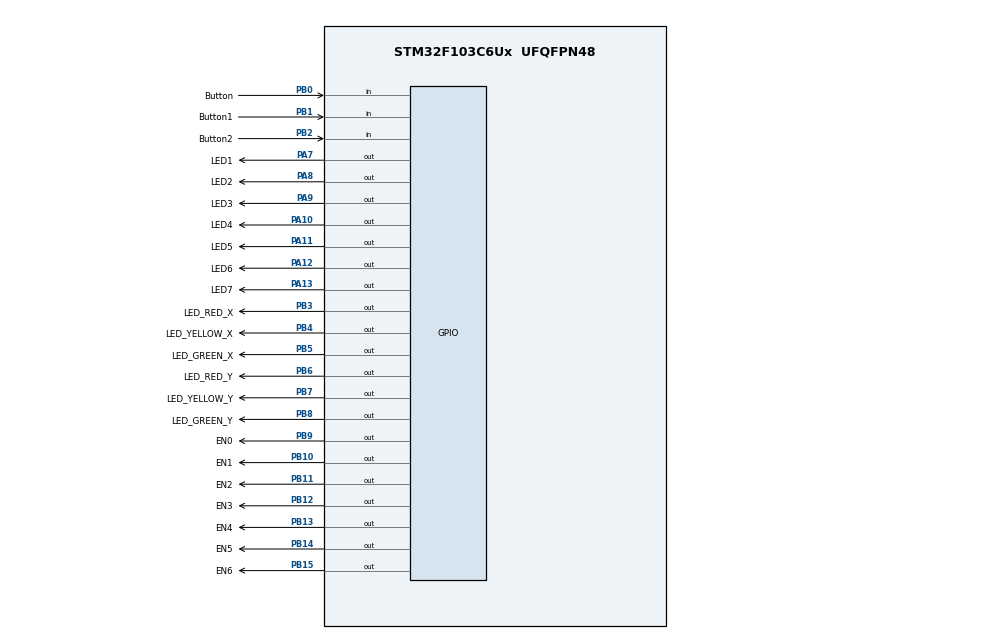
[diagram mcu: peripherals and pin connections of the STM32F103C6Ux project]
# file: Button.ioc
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Mcu.Family=STM32F1
Mcu.Name=STM32F103C6Ux
Mcu.Package=UFQFPN48
NVIC.PriorityGroup=NVIC_PRIORITYGROUP_4
NVIC.TIM2_IRQn=true\:0\:0\:false\:false\:true\:true\:true
PA10.GPIO_Label=LED4
PA10.Signal=GPIO_Output
PA11.GPIO_Label=LED5
PA11.Signal=GPIO_Output
PA12.GPIO_Label=LED6
PA12.Signal=GPIO_Output
PA13.GPIO_Label=LED7
PA13.Signal=GPIO_Output
PA7.GPIO_Label=LED1
PA7.Signal=GPIO_Output
PA8.GPIO_Label=LED2
PA8.Signal=GPIO_Output
PA9.GPIO_Label=LED3
PA9.Signal=GPIO_Output
PB0.GPIO_Label=Button
PB0.GPIO_PuPd=GPIO_PULLUP
PB0.Signal=GPIO_Input
PB1.GPIO_Label=Button1
PB1.GPIO_PuPd=GPIO_PULLUP
PB1.Signal=GPIO_Input
PB10.GPIO_Label=EN1
PB10.Signal=GPIO_Output
PB11.GPIO_Label=EN2
PB11.Signal=GPIO_Output
PB12.GPIO_Label=EN3
PB12.Signal=GPIO_Output
PB13.GPIO_Label=EN4
PB13.Signal=GPIO_Output
PB14.GPIO_Label=EN5
PB14.Signal=GPIO_Output
PB15.GPIO_Label=EN6
PB15.Signal=GPIO_Output
PB2.GPIO_Label=Button2
PB2.GPIO_PuPd=GPIO_PULLUP
PB2.Signal=GPIO_Input
PB3.GPIO_Label=LED_RED_X
PB3.Signal=GPIO_Output
PB4.GPIO_Label=LED_YELLOW_X
PB4.Signal=GPIO_Output
PB5.GPIO_Label=LED_GREEN_X
PB5.Signal=GPIO_Output
PB6.GPIO_Label=LED_RED_Y
PB6.Signal=GPIO_Output
PB7.GPIO_Label=LED_YELLOW_Y
PB7.Signal=GPIO_Output
PB8.GPIO_Label=LED_GREEN_Y
PB8.Signal=GPIO_Output
PB9.GPIO_Label=EN0
PB9.Signal=GPIO_Output
ProjectManager.HeapSize=0x200
ProjectManager.StackSize=0x400
ProjectManager.TargetToolchain=STM32CubeIDE
RCC.APB1Freq_Value=8000000
RCC.APB2Freq_Value=8000000
TIM2.Period=9
TIM2.Prescaler=7999
VP_SYS_VS_ND.Mode=No_Debug
VP_TIM2_VS_ClockSourceINT.Mode=Internal
board=custom

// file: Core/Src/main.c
/* USER CODE BEGIN Header */
/**
  ******************************************************************************
  * @file           : main.c
  * @brief          : Main program body
  ******************************************************************************
  * @attention
  *
  * <h2><center>&copy; Copyright (c) 2024 STMicroelectronics.
  * All rights reserved.</center></h2>
  *
  * This software component is licensed by ST under BSD 3-Clause license,
  * the "License"; You may not use this file except in compliance with the
  * License. You may obtain a copy of the License at:
  *                        opensource.org/licenses/BSD-3-Clause
  *
  ******************************************************************************
  */
/* USER CODE END Header */
#include "main.h"

/* USER CODE BEGIN Includes */
#include "input_processing.h"
#include "fsm_automatic.h"
#include "timer.h"
#include "fsm_manual.h"
/* USER CODE END Includes */

TIM_HandleTypeDef htim2;

void SystemClock_Config(void);
static void MX_GPIO_Init(void);
static void MX_TIM2_Init(void);

int main(void)
{

  /* MCU Configuration--------------------------------------------------------*/

  /* Reset of all peripherals, Initializes the Flash interface and the Systick. */
  HAL_Init();

  /* Configure the system clock */
  SystemClock_Config();

  /* Initialize all configured peripherals */
  MX_GPIO_Init();
  MX_TIM2_Init();
  /* USER CODE BEGIN 2 */
  HAL_TIM_Base_Start_IT(&htim2);
  /* USER CODE END 2 */

  /* Infinite loop */
  /* USER CODE BEGIN WHILE */
	HAL_GPIO_WritePin(LED1_GPIO_Port, LED1_Pin, GPIO_PIN_SET);
	HAL_GPIO_WritePin(LED2_GPIO_Port, LED2_Pin, GPIO_PIN_SET);
	HAL_GPIO_WritePin(LED3_GPIO_Port, LED3_Pin, GPIO_PIN_SET);
	HAL_GPIO_WritePin(LED4_GPIO_Port, LED4_Pin, GPIO_PIN_SET);
	HAL_GPIO_WritePin(LED5_GPIO_Port, LED5_Pin, GPIO_PIN_SET);
	HAL_GPIO_WritePin(LED6_GPIO_Port, LED6_Pin, GPIO_PIN_SET);
	HAL_GPIO_WritePin(LED7_GPIO_Port, LED7_Pin, GPIO_PIN_SET);
	HAL_GPIO_WritePin(EN0_GPIO_Port, EN0_Pin, GPIO_PIN_SET);
	HAL_GPIO_WritePin(EN1_GPIO_Port, EN1_Pin, GPIO_PIN_SET);
	HAL_GPIO_WritePin(EN2_GPIO_Port, EN2_Pin, GPIO_PIN_SET);
	HAL_GPIO_WritePin(EN3_GPIO_Port, EN3_Pin, GPIO_PIN_SET);
	HAL_GPIO_WritePin(EN4_GPIO_Port, EN4_Pin, GPIO_PIN_SET);
	HAL_GPIO_WritePin(EN5_GPIO_Port, EN5_Pin, GPIO_PIN_SET);
	HAL_GPIO_WritePin(EN6_GPIO_Port, EN6_Pin, GPIO_PIN_SET);
	statusx = INIT;
	statusy = INIT;
	counterMode = 1;
	counterTimeSet = 0;
	DisplayCounter = 0;
	setTimer(6, 10);
	setTimer(4, 500);
	setTimer(5, 500);
  while (1)
  {
	  fsm_automatic_runx();
	  fsm_automatic_runy();
	  fsm_manual_run1();
	  fsm_manual_run2();
	  fsm_for_input_processing1();
	  fsm_for_input_processing2();
	  fsm_for_input_processing3();
    /* USER CODE END WHILE */

  }
}

void SystemClock_Config(void)
{
  RCC_OscInitTypeDef RCC_OscInitStruct = {0};
  RCC_ClkInitTypeDef RCC_ClkInitStruct = {0};

  /** Initializes the RCC Oscillators according to the specified parameters
  * in the RCC_OscInitTypeDef structure.
  */
  RCC_OscInitStruct.OscillatorType = RCC_OSCILLATORTYPE_HSI;
  RCC_OscInitStruct.HSIState = RCC_HSI_ON;
  RCC_OscInitStruct.HSICalibrationValue = RCC_HSICALIBRATION_DEFAULT;
  RCC_OscInitStruct.PLL.PLLState = RCC_PLL_NONE;
  if (HAL_RCC_OscConfig(&RCC_OscInitStruct) != HAL_OK)
  {
    Error_Handler();
  }
  /** Initializes the CPU, AHB and APB buses clocks
  */
  RCC_ClkInitStruct.ClockType = RCC_CLOCKTYPE_HCLK|RCC_CLOCKTYPE_SYSCLK
                              |RCC_CLOCKTYPE_PCLK1|RCC_CLOCKTYPE_PCLK2;
  RCC_ClkInitStruct.SYSCLKSource = RCC_SYSCLKSOURCE_HSI;
  RCC_ClkInitStruct.AHBCLKDivider = RCC_SYSCLK_DIV1;
  RCC_ClkInitStruct.APB1CLKDivider = RCC_HCLK_DIV1;
  RCC_ClkInitStruct.APB2CLKDivider = RCC_HCLK_DIV1;

  if (HAL_RCC_ClockConfig(&RCC_ClkInitStruct, FLASH_LATENCY_0) != HAL_OK)
  {
    Error_Handler();
  }
}

static void MX_TIM2_Init(void)
{

  TIM_ClockConfigTypeDef sClockSourceConfig = {0};
  TIM_MasterConfigTypeDef sMasterConfig = {0};

  htim2.Instance = TIM2;
  htim2.Init.Prescaler = 7999;
  htim2.Init.CounterMode = TIM_COUNTERMODE_UP;
  htim2.Init.Period = 9;
  htim2.Init.ClockDivision = TIM_CLOCKDIVISION_DIV1;
  htim2.Init.AutoReloadPreload = TIM_AUTORELOAD_PRELOAD_DISABLE;
  if (HAL_TIM_Base_Init(&htim2) != HAL_OK)
  {
    Error_Handler();
  }
  sClockSourceConfig.ClockSource = TIM_CLOCKSOURCE_INTERNAL;
  if (HAL_TIM_ConfigClockSource(&htim2, &sClockSourceConfig) != HAL_OK)
  {
    Error_Handler();
  }
  sMasterConfig.MasterOutputTrigger = TIM_TRGO_RESET;
  sMasterConfig.MasterSlaveMode = TIM_MASTERSLAVEMODE_DISABLE;
  if (HAL_TIMEx_MasterConfigSynchronization(&htim2, &sMasterConfig) != HAL_OK)
  {
    Error_Handler();
  }

}

static void MX_GPIO_Init(void)
{
  GPIO_InitTypeDef GPIO_InitStruct = {0};

  /* GPIO Ports Clock Enable */
  __HAL_RCC_GPIOA_CLK_ENABLE();
  __HAL_RCC_GPIOB_CLK_ENABLE();

  /*Configure GPIO pin Output Level */
  HAL_GPIO_WritePin(GPIOA, LED1_Pin|LED2_Pin|LED3_Pin|LED4_Pin
                          |LED5_Pin|LED6_Pin|LED7_Pin, GPIO_PIN_RESET);

  /*Configure GPIO pin Output Level */
  HAL_GPIO_WritePin(GPIOB, EN1_Pin|EN2_Pin|EN3_Pin|EN4_Pin
                          |EN5_Pin|EN6_Pin|LED_RED_X_Pin|LED_YELLOW_X_Pin
                          |LED_GREEN_X_Pin|LED_RED_Y_Pin|LED_YELLOW_Y_Pin|LED_GREEN_Y_Pin
                          |EN0_Pin, GPIO_PIN_RESET);

  /*Configure GPIO pins : LED1_Pin LED2_Pin LED3_Pin LED4_Pin
                           LED5_Pin LED6_Pin LED7_Pin */
  GPIO_InitStruct.Pin = LED1_Pin|LED2_Pin|LED3_Pin|LED4_Pin
                          |LED5_Pin|LED6_Pin|LED7_Pin;
  GPIO_InitStruct.Mode = GPIO_MODE_OUTPUT_PP;
  GPIO_InitStruct.Pull = GPIO_NOPULL;
  GPIO_InitStruct.Speed = GPIO_SPEED_FREQ_LOW;
  HAL_GPIO_Init(GPIOA, &GPIO_InitStruct);

  /*Configure GPIO pins : Button_Pin Button1_Pin Button2_Pin */
  GPIO_InitStruct.Pin = Button_Pin|Button1_Pin|Button2_Pin;
  GPIO_InitStruct.Mode = GPIO_MODE_INPUT;
  GPIO_InitStruct.Pull = GPIO_PULLUP;
  HAL_GPIO_Init(GPIOB, &GPIO_InitStruct);

  /*Configure GPIO pins : EN1_Pin EN2_Pin EN3_Pin EN4_Pin
                           EN5_Pin EN6_Pin LED_RED_X_Pin LED_YELLOW_X_Pin
                           LED_GREEN_X_Pin LED_RED_Y_Pin LED_YELLOW_Y_Pin LED_GREEN_Y_Pin
                           EN0_Pin */
  GPIO_InitStruct.Pin = EN1_Pin|EN2_Pin|EN3_Pin|EN4_Pin
                          |EN5_Pin|EN6_Pin|LED_RED_X_Pin|LED_YELLOW_X_Pin
                          |LED_GREEN_X_Pin|LED_RED_Y_Pin|LED_YELLOW_Y_Pin|LED_GREEN_Y_Pin
                          |EN0_Pin;
  GPIO_InitStruct.Mode = GPIO_MODE_OUTPUT_PP;
  GPIO_InitStruct.Pull = GPIO_NOPULL;
  GPIO_InitStruct.Speed = GPIO_SPEED_FREQ_LOW;
  HAL_GPIO_Init(GPIOB, &GPIO_InitStruct);

}

void Error_Handler(void)
{
  __disable_irq();
  while (1)
  {
  }
}

/************************ (C) COPYRIGHT STMicroelectronics *****END OF FILE****/
